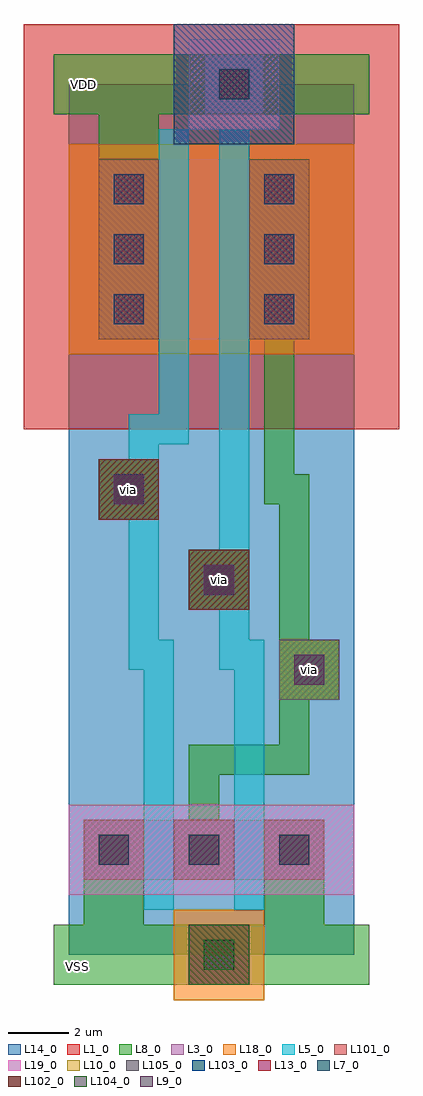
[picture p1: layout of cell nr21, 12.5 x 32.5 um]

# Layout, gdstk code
import gdstk
lib = gdstk.Library(unit=1e-6, precision=1e-09)
def R(c, l, rs):  # rectangles x0, y0, x1, y1
    for r in rs: c.add(gdstk.rectangle(r[:2], r[2:], *l))
L1_0 = (1, 0)
L3_0 = (3, 0)
L5_0 = (5, 0)
L7_0 = (7, 0)
L8_0 = (8, 0)
L9_0 = (9, 0)
L10_0 = (10, 0)
L13_0 = (13, 0)
L14_0 = (14, 0)
L18_0 = (18, 0)
L19_0 = (19, 0)
L101_0 = (101, 0)
L102_0 = (102, 0)
L103_0 = (103, 0)
L104_0 = (104, 0)
L105_0 = (105, 0)

dcont = lib.new_cell('dcont')
R(dcont, L3_0, [(-1,-1,1,1)])
R(dcont, L7_0, [(-0.5,-0.5,0.5,0.5)])
R(dcont, L8_0, [(-1,-1,1,1)])
R(dcont, L13_0, [(-0.5,-0.5,0.5,0.5)])
R(dcont, L101_0, [(-1,-1,1,1)])
dcont.add(gdstk.Label('dcont', (0,0), layer=13, texttype=0))

psubcont = lib.new_cell('psubcont')
R(psubcont, L18_0, [(-1.5,-1.5,1.5,1.5)])
R(psubcont, L104_0, [(-1,-1,1,1)])
psubcont.add(gdstk.Reference(dcont, (0,0)))
psubcont.add(gdstk.Label('PScon', (0,0), layer=13, texttype=0))

via = lib.new_cell('Via')
R(via, L8_0, [(-1,-1,1,1)])
R(via, L9_0, [(-0.5,-0.5,0.5,0.5)])
R(via, L10_0, [(-1,-1,1,1)])
R(via, L13_0, [(-0.5,-0.5,0.5,0.5)])
R(via, L105_0, [(-1,-1,1,1)])
via.add(gdstk.Label('via', (0,0), layer=13, texttype=0))

pcont = lib.new_cell('pcont')
R(pcont, L5_0, [(-1,-1,1,1)])
R(pcont, L7_0, [(-0.5,-0.5,0.5,0.5)])
R(pcont, L8_0, [(-1,-1,1,1)])
R(pcont, L102_0, [(-1,-1,1,1)])
pcont.add(gdstk.Label('pcont', (0,0), layer=13, texttype=0))

nsubcont = lib.new_cell('nsubcont')
R(nsubcont, L1_0, [(-2,-2,2,2)])
R(nsubcont, L19_0, [(-1.5,-1.5,1.5,1.5)])
R(nsubcont, L103_0, [(-2,-2,2,2)])
nsubcont.add(gdstk.Reference(dcont, (0,0)))
nsubcont.add(gdstk.Label('NScont', (0,0), layer=13, texttype=0))

nr21 = lib.new_cell('nr21')
R(nr21, L1_0, [(-1.5,17.5,11,31)])
R(nr21, L3_0, [(0.5,2.5,8.5,4.5), (6.5,2.5,8.5,4.5), (1,20.5,8,26.5)])
R(nr21, L8_0, [(-0.5,-1,10,1), (7,8.5,9,10.5), (4,11.5,6,13.5), (1,14.5,3,16.5), (-0.5,28,10,30)])
R(nr21, L10_0, [(7,8.5,9,10.5), (4,11.5,6,13.5), (1,14.5,3,16.5)])
R(nr21, L14_0, [(0,0,9.5,29)])
R(nr21, L18_0, [(0,20,9.5,27)])
R(nr21, L19_0, [(0,2,9.5,5)])
R(nr21, L105_0, [(7,8.5,9,10.5), (4,11.5,6,13.5), (1,14.5,3,16.5)])
nr21.add(gdstk.FlexPath([(4.5,3.5),(4.5,6.5),(7.5,6.5),(7.5,15.5),(7,15.5),(7,20.5)], 1, ends="extended", simple_path=True, layer=8, datatype=0))  # L8_0
nr21.add(gdstk.FlexPath([(1.5,1),(1.5,3.5)], 2, ends="extended", simple_path=True, layer=8, datatype=0))  # L8_0
nr21.add(gdstk.FlexPath([(7,21.5),(7,25.5)], 1.4, ends="extended", simple_path=True, layer=8, datatype=0))  # L8_0
nr21.add(gdstk.FlexPath([(2,22),(2,28.5)], 2, ends="extended", simple_path=True, layer=8, datatype=0))  # L8_0
nr21.add(gdstk.FlexPath([(7.5,1),(7.5,3.5)], 2, ends="extended", simple_path=True, layer=8, datatype=0))  # L8_0
nr21.add(gdstk.FlexPath([(3.5,27),(3.5,17.5),(2.5,17.5),(2.5,10),(3,10),(3,2)], 1, ends="extended", simple_path=True, layer=5, datatype=0))  # L5_0
nr21.add(gdstk.FlexPath([(5.5,27),(5.5,10),(6,10),(6,2)], 1, ends="extended", simple_path=True, layer=5, datatype=0))  # L5_0
nr21.add(gdstk.Reference(dcont, (7,21.5)))
nr21.add(gdstk.Reference(dcont, (1.5,3.5)))
nr21.add(gdstk.Reference(dcont, (7.5,3.5)))
nr21.add(gdstk.Reference(dcont, (7,25.5)))
nr21.add(gdstk.Reference(psubcont, (5,0)))
nr21.add(gdstk.Reference(via, (2,15.5)))
nr21.add(gdstk.Reference(dcont, (2,21.5)))
nr21.add(gdstk.Reference(dcont, (4.5,3.5)))
nr21.add(gdstk.Reference(pcont, (5,12.5)))
nr21.add(gdstk.Reference(dcont, (2,23.5)))
nr21.add(gdstk.Reference(nsubcont, (5.5,29)))
nr21.add(gdstk.Reference(dcont, (2,25.5)))
nr21.add(gdstk.Reference(via, (5,12.5)))
nr21.add(gdstk.Reference(dcont, (7,23.5)))
nr21.add(gdstk.Reference(pcont, (2,15.5)))
nr21.add(gdstk.Reference(via, (8,9.5)))
nr21.add(gdstk.Label('VDD', (0.5,29), layer=8, texttype=0))
nr21.add(gdstk.Label('VSS', (0.3,-0.4), layer=8, texttype=0))
nr21.add(gdstk.Label('via', (2,15.5), layer=13, texttype=0))
nr21.add(gdstk.Label('via', (5,12.5), layer=13, texttype=0))
nr21.add(gdstk.Label('via', (8,9.5), layer=13, texttype=0))
nr21.add(gdstk.Label('A', (2,15.5), layer=10, texttype=0))
nr21.add(gdstk.Label('B', (5,12.5), layer=10, texttype=0))
nr21.add(gdstk.Label('X', (8,9.5), layer=10, texttype=0))

lib.write_gds('nr21.gds')
